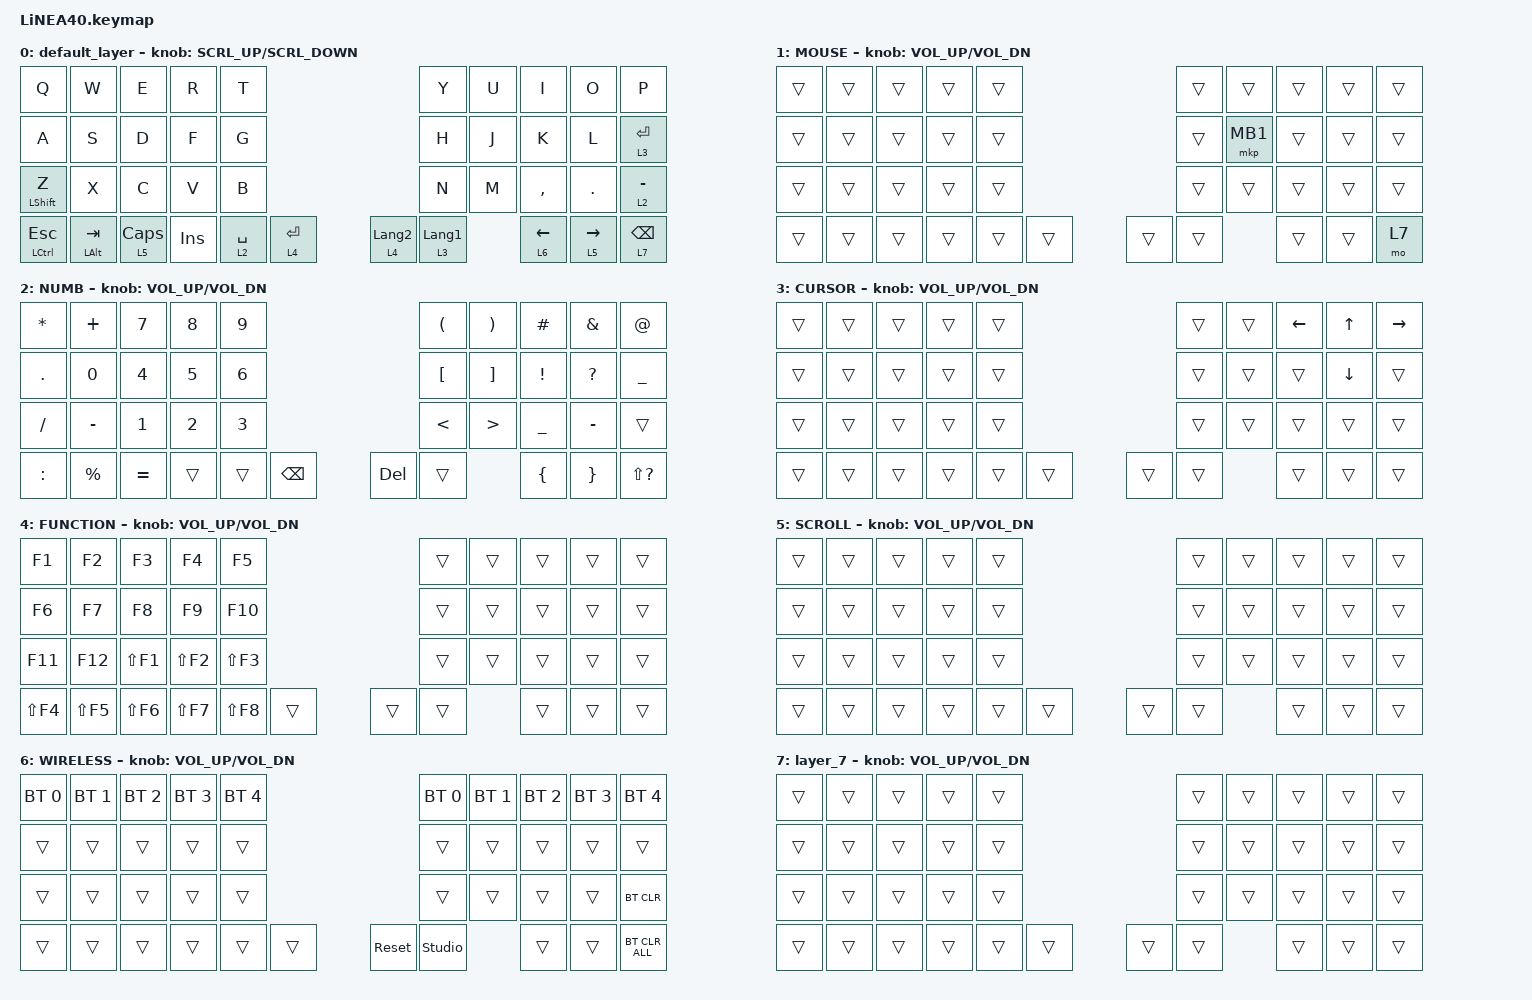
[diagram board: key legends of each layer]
#define ZMK_POINTING_DEFAULT_SCRL_VAL 150

#include <dt-bindings/zmk/input_transform.h>
#include <input/processors.dtsi>
#include <zephyr/dt-bindings/input/input-event-codes.h>
#include <input/processors/runtime-input-processor.dtsi>
#include <behaviors.dtsi>
#include <dt-bindings/zmk/bt.h>
#include <dt-bindings/zmk/keys.h>
#include <dt-bindings/zmk/pointing.h>


#define MOUSE 1
#define NUMB 2
#define CURSOR 3
#define FUNCTION 4
#define SCROLL 5
#define WIRELESS 6
#define layer_7 7

//mouse cursor

&mmv {
    delay-ms = <20>;
    trigger-period-ms = <5>;
    time-to-max-speed-ms = <100>;
    acceleration-exponent = <2>;
};

//mouse scroll

&msc {
    delay-ms = <3>;
    trigger-period-ms = <3>;
    time-to-max-speed-ms = <100>;
    acceleration-exponent = <0>;
};

/ {
    combos {
        compatible = "zmk,combos";

        esc {
            bindings = <&kp ESCAPE>;
            key-positions = <0 1>;
        };

        bs {
            bindings = <&kp BACKSPACE>;
            key-positions = <8 9>;
        };

        pirri {
            bindings = <&kp PERIOD>;
            key-positions = <7 8>;
        };

        conma {
            bindings = <&kp COMMA>;
            key-positions = <6 7>;
        };

        win {
            bindings = <&kp LEFT_WIN>;
            key-positions = <31 32>;
        };

        del {
            bindings = <&kp DELETE>;
            key-positions = <4 3>;
        };

        mb3 {
            bindings = <&mkp MB3>;
            key-positions = <16 17>;
        };

        mb2 {
            bindings = <&mkp MB2>;
            key-positions = <17 18>;
        };

        LANG01 {
            bindings = <&kp LANGUAGE_1>;
            key-positions = <0 10>;
        };
    };

    sensors: sensors {
        compatible = "zmk,keymap-sensors";
        sensors = <&left_encoder>;
        triggers-per-rotation = <8>;
    };

    behaviors {
        re_kp: sensor_rotate_kp {
            compatible = "zmk,behavior-sensor-rotate-var";
            #sensor-binding-cells = <2>;
            bindings = <&kp>, <&kp>;
        };

        mouse_scrl: mouse_wheel_scrl {
            compatible = "zmk,behavior-sensor-rotate-var";
            #sensor-binding-cells = <2>;
            bindings = <&msc>, <&msc>;

            tap-ms = <20>;
        };
    };

    keymap {
        compatible = "zmk,keymap";

        default_layer {
            bindings = <
&kp Q             &kp W             &kp E           &kp R    &kp T                                         &kp Y             &kp U  &kp I             &kp O              &kp P
&kp A             &kp S             &kp D           &kp F    &kp G                                         &kp H             &kp J  &kp K             &kp L              &lt 3 ENTER
&mt LEFT_SHIFT Z  &kp X             &kp C           &kp V    &kp B                                         &kp N             &kp M  &kp COMMA         &kp PERIOD         &lt 2 MINUS
&mt LCTRL ESC     &mt LEFT_ALT TAB  &lt 5 CAPSLOCK  &kp INS  &lt 2 SPACE  &lt 4 ENTER    &lt 4 LANGUAGE_2  &lt 3 LANGUAGE_1         &lt 6 LEFT_ARROW  &lt 5 RIGHT_ARROW  &lt 7 BACKSPACE
            >;

            sensor-bindings = <&mouse_scrl SCRL_UP SCRL_DOWN>;
        };

        MOUSE {
            bindings = <
&trans  &trans  &trans  &trans  &trans                    &trans  &trans    &trans  &trans  &trans
&trans  &trans  &trans  &trans  &trans                    &trans  &mkp MB1  &trans  &trans  &trans
&trans  &trans  &trans  &trans  &trans                    &trans  &trans    &trans  &trans  &trans
&trans  &trans  &trans  &trans  &trans  &trans    &trans  &trans            &trans  &trans  &mo 7
            >;

            sensor-bindings = <&inc_dec_kp C_VOL_UP C_VOL_DN>;
        };

        NUMB {
            bindings = <
&kp ASTERISK  &kp PLUS     &kp N7     &kp N8  &kp N9                               &kp LEFT_PARENTHESIS  &kp RIGHT_PARENTHESIS  &kp HASH         &kp AMPERSAND  &kp AT_SIGN
&kp PERIOD    &kp N0       &kp N4     &kp N5  &kp N6                               &kp LEFT_BRACKET      &kp RIGHT_BRACKET      &kp EXCLAMATION  &kp QUESTION   &kp UNDERSCORE
&kp SLASH     &kp MINUS    &kp N1     &kp N2  &kp N3                               &kp LESS_THAN         &kp GREATER_THAN       &kp UNDERSCORE   &kp MINUS      &trans
&kp COLON     &kp PERCENT  &kp EQUAL  &trans  &trans  &kp BACKSPACE    &kp DELETE  &trans                                       &kp LBRC         &kp RBRC       &kp LS(QUESTION)
            >;

            sensor-bindings = <&inc_dec_kp C_VOL_UP C_VOL_DN>;
        };

        CURSOR {
            bindings = <
&trans  &trans  &trans  &trans  &trans                    &trans  &trans  &kp LEFT_ARROW  &kp UP_ARROW    &kp RIGHT_ARROW
&trans  &trans  &trans  &trans  &trans                    &trans  &trans  &trans          &kp DOWN_ARROW  &trans
&trans  &trans  &trans  &trans  &trans                    &trans  &trans  &trans          &trans          &trans
&trans  &trans  &trans  &trans  &trans  &trans    &trans  &trans          &trans          &trans          &trans
            >;

            sensor-bindings = <&inc_dec_kp C_VOL_UP C_VOL_DN>;
        };

        FUNCTION {
            bindings = <
&kp F1      &kp F2      &kp F3      &kp F4      &kp F5                        &trans  &trans  &trans  &trans  &trans
&kp F6      &kp F7      &kp F8      &kp F9      &kp F10                       &trans  &trans  &trans  &trans  &trans
&kp F11     &kp F12     &kp LS(F1)  &kp LS(F2)  &kp LS(F3)                    &trans  &trans  &trans  &trans  &trans
&kp LS(F4)  &kp LS(F5)  &kp LS(F6)  &kp LS(F7)  &kp LS(F8)  &trans    &trans  &trans          &trans  &trans  &trans
            >;

            sensor-bindings = <&inc_dec_kp C_VOL_UP C_VOL_DN>;
        };

        SCROLL {
            bindings = <
&trans  &trans  &trans  &trans  &trans                    &trans  &trans  &trans  &trans  &trans
&trans  &trans  &trans  &trans  &trans                    &trans  &trans  &trans  &trans  &trans
&trans  &trans  &trans  &trans  &trans                    &trans  &trans  &trans  &trans  &trans
&trans  &trans  &trans  &trans  &trans  &trans    &trans  &trans          &trans  &trans  &trans
            >;

            sensor-bindings = <&inc_dec_kp C_VOL_UP C_VOL_DN>;
        };

        WIRELESS {
            bindings = <
&bt BT_SEL 0    &bt BT_SEL 1  &bt BT_SEL 2  &bt BT_SEL 3  &bt BT_SEL 4                         &bt BT_SEL 0    &bt BT_SEL 1  &bt BT_SEL 2  &bt BT_SEL 3  &bt BT_SEL 4
&trans          &trans        &trans        &trans        &trans                               &trans          &trans        &trans        &trans        &trans
&trans          &trans        &trans        &trans        &trans                               &trans          &trans        &trans        &trans        &bt BT_CLR
&trans　        &trans        &trans        &trans        &trans        &trans    &sys_reset  &studio_unlock                &trans        &trans        &bt BT_CLR_ALL
            >;

            sensor-bindings = <&inc_dec_kp C_VOL_UP C_VOL_DN>;
        };

        layer_7 {
            bindings = <
&trans  &trans  &trans  &trans  &trans                    &trans  &trans  &trans  &trans  &trans
&trans  &trans  &trans  &trans  &trans                    &trans  &trans  &trans  &trans  &trans
&trans  &trans  &trans  &trans  &trans                    &trans  &trans  &trans  &trans  &trans
&trans  &trans  &trans  &trans  &trans  &trans    &trans  &trans          &trans  &trans  &trans
            >;

            sensor-bindings = <&inc_dec_kp C_VOL_UP C_VOL_DN>;
        };
    };
};
